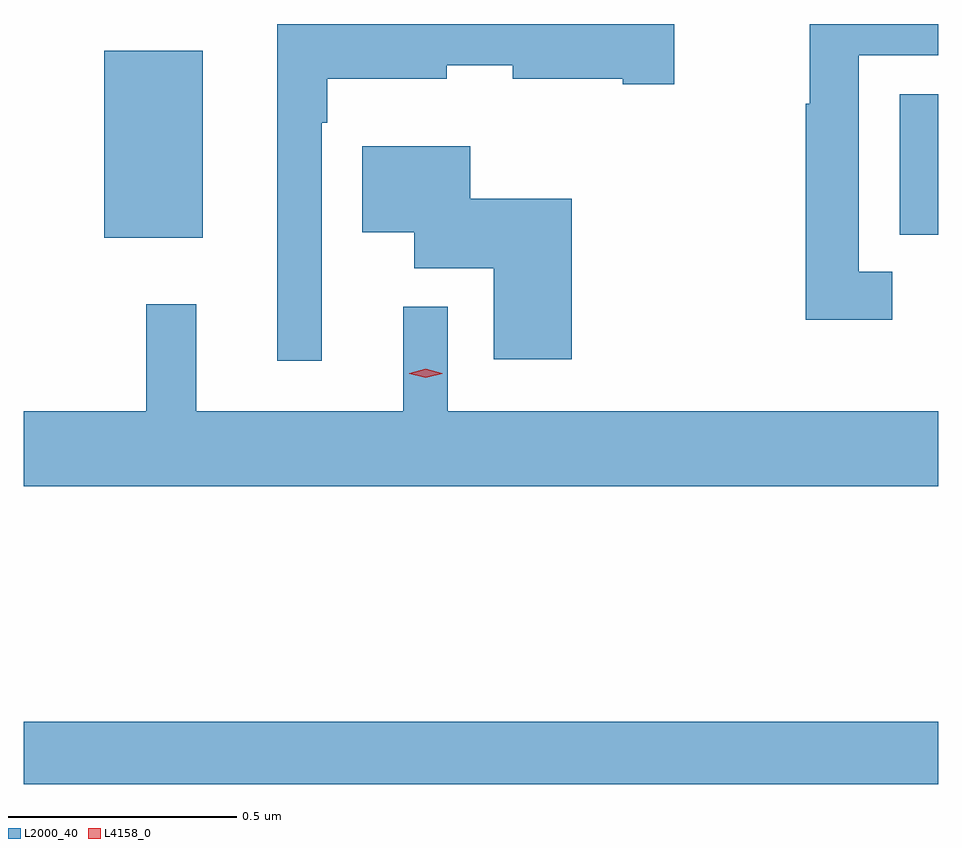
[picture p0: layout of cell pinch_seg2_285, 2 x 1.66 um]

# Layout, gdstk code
import gdstk
lib = gdstk.Library(unit=1e-6, precision=1e-09)
def R(c, l, rs):  # rectangles x0, y0, x1, y1
    for r in rs: c.add(gdstk.rectangle(r[:2], r[2:], *l))
def P(c, l, *ps):  # polygons
    for p in ps: c.add(gdstk.Polygon(p, *l))
L2000_40 = (2000, 40)
L4158_0 = (4158, 0)

pinch_seg2_285 = lib.new_cell('pinch_seg2_285')
R(pinch_seg2_285, L2000_40, [(909.546,632.332,911.546,632.468), (909.722,633.527,909.937,633.937), (911.462,633.534,911.546,633.841)])
P(pinch_seg2_285, L2000_40, [(911.446,633.453),(911.373,633.453),(911.373,633.927),(911.546,633.927),(911.546,633.995),(911.265,633.995),(911.265,633.82),(911.257,633.82),(911.257,633.348),(911.446,633.348)],
  [(910.197,633.779),(910.21,633.779),(910.21,633.875),(910.471,633.875),(910.471,633.905),(910.616,633.905),(910.616,633.875),(910.856,633.875),(910.856,633.863),(910.969,633.863),(910.969,633.995),(910.1,633.995),(910.1,633.258),(910.197,633.258)],
  [(910.745,633.613),(910.522,633.613),(910.522,633.727),(910.286,633.727),(910.286,633.539),(910.4,633.539),(910.4,633.461),(910.574,633.461),(910.574,633.261),(910.745,633.261)],
  [(911.546,633.148),(910.473,633.148),(910.473,633.376),(910.376,633.376),(910.376,633.148),(909.923,633.148),(909.923,633.382),(909.813,633.382),(909.813,633.148),(909.546,633.148),(909.546,632.984),(911.546,632.984)])
P(pinch_seg2_285, L4158_0, [(910.425,633.221),(910.389,633.23),(910.389,633.231),(910.389,633.231),(910.425,633.241),(910.461,633.231),(910.461,633.231),(910.461,633.23)])

lib.write_gds('pinch_seg2_285.gds')
